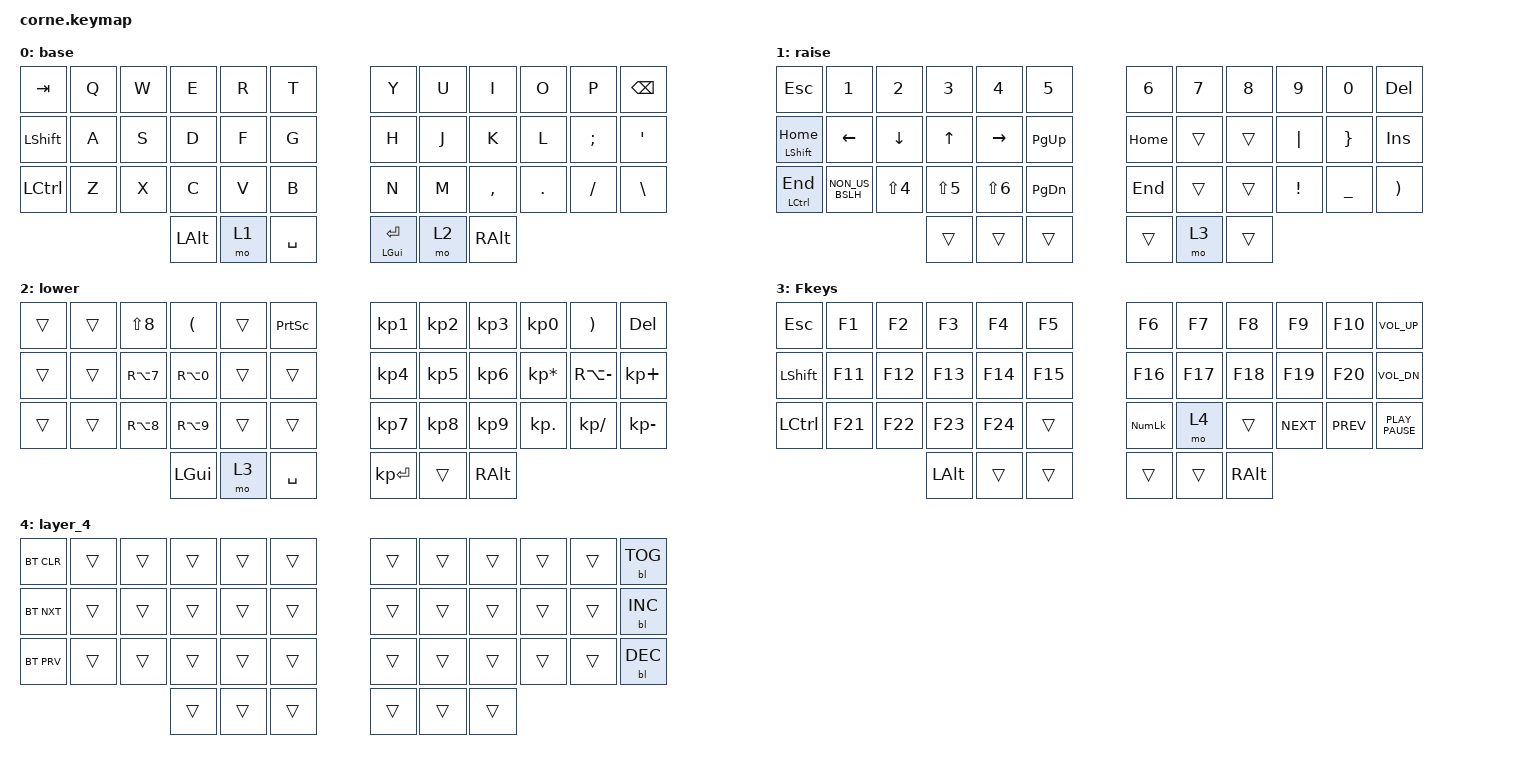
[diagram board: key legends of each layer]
/*
 * Copyright (c) 2020 The ZMK Contributors
 *
 * SPDX-License-Identifier: MIT
 */

#include <behaviors.dtsi>
#include <dt-bindings/zmk/backlight.h>
#include <dt-bindings/zmk/bt.h>
#include <dt-bindings/zmk/keys.h>

/ {
    behaviors {
        hm: homerow_mods {
            compatible = "zmk,behavior-hold-tap";
            label = "HOMEROW_MODS";
            #binding-cells = <2>;
            tapping-term-ms = <150>;
            quick-tap-ms = <0>;
            flavor = "tap-preferred";
            bindings = <&kp>, <&kp>;
        };
    };

    combos {
        compatible = "zmk,combos";

        cmd {
            bindings = <&kp LCMD>;
            key-positions = <37 38>;
        };

        Layer3 {
            bindings = <&mo 3>;
            key-positions = <37 40>;
        };

        leftside_kp_minus {
            bindings = <&kp KP_MINUS>;
            key-positions = <38 29>;
        };

        leftside_kp_plus {
            bindings = <&kp KP_PLUS>;
            key-positions = <17 38>;
        };

        leftside_end {
            bindings = <&kp END>;
            key-positions = <38 24>;
        };

        leftside_L {
            bindings = <&kp L>;
            key-positions = <38 5>;
        };
    };

    keymap {
        compatible = "zmk,keymap";

        base {
            bindings = <
&kp TAB         &kp Q  &kp W  &kp E         &kp R  &kp T        &kp Y               &kp U  &kp I      &kp O    &kp P          &kp BACKSPACE
&kp LEFT_SHIFT  &kp A  &kp S  &kp D         &kp F  &kp G        &kp H               &kp J  &kp K      &kp L    &kp SEMICOLON  &kp SINGLE_QUOTE
&kp LCTRL       &kp Z  &kp X  &kp C         &kp V  &kp B        &kp N               &kp M  &kp COMMA  &kp DOT  &kp FSLH       &kp BACKSLASH
                              &kp LEFT_ALT  &mo 1  &kp SPACE    &hm LEFT_GUI ENTER  &mo 2  &kp RALT
            >;
        };

        raise {
            bindings = <
&kp ESC               &kp N1           &kp N2            &kp N3        &kp N4            &kp N5           &kp N6    &kp N7  &kp N8  &kp N9           &kp N0           &kp DEL
&hm LEFT_SHIFT HOME   &kp LEFT_ARROW   &kp DOWN_ARROW    &kp UP_ARROW  &kp RIGHT_ARROW   &kp PAGE_UP      &kp HOME  &trans  &trans  &kp PIPE         &kp RIGHT_BRACE  &kp INSERT
&hm LEFT_CONTROL END  &kp NON_US_BSLH  &kp LS(NUMBER_4)  &kp LS(N5)    &kp LS(NUMBER_6)  &kp PAGE_DOWN    &kp END   &trans  &trans  &kp EXCLAMATION  &kp UNDERSCORE   &kp RIGHT_PARENTHESIS
                                                         &trans        &trans            &trans           &trans    &mo 3   &trans
            >;
        };

        lower {
            bindings = <
&trans  &trans  &kp LS(NUMBER_8)  &kp LEFT_PARENTHESIS  &trans  &kp PRINTSCREEN    &kp KP_NUMBER_1  &kp KP_NUMBER_2  &kp KP_NUMBER_3  &kp KP_NUMBER_0  &kp RIGHT_PARENTHESIS  &kp DELETE
&trans  &trans  &kp RA(NUMBER_7)  &kp RA(NUMBER_0)      &trans  &trans             &kp KP_NUMBER_4  &kp KP_NUMBER_5  &kp KP_NUMBER_6  &kp KP_MULTIPLY  &kp RA(MINUS)          &kp KP_PLUS
&trans  &trans  &kp RA(NUMBER_8)  &kp RA(NUMBER_9)      &trans  &trans             &kp KP_NUMBER_7  &kp KP_NUMBER_8  &kp KP_NUMBER_9  &kp KP_DOT       &kp KP_SLASH           &kp KP_MINUS
                                  &kp LEFT_GUI          &mo 3   &kp SPACE          &kp KP_ENTER     &trans           &kp RIGHT_ALT
            >;
        };

        Fkeys {
            bindings = <
&kp ESCAPE      &kp F1   &kp F2   &kp F3        &kp F4   &kp F5     &kp F6          &kp F7   &kp F8         &kp F9      &kp F10     &kp C_VOL_UP
&kp LEFT_SHIFT  &kp F11  &kp F12  &kp F13       &kp F14  &kp F15    &kp F16         &kp F17  &kp F18        &kp F19     &kp F20     &kp C_VOL_DN
&kp LCTRL       &kp F21  &kp F22  &kp F23       &kp F24  &trans     &kp KP_NUMLOCK  &mo 4    &trans         &kp C_NEXT  &kp C_PREV  &kp K_PLAY_PAUSE
                                  &kp LEFT_ALT  &trans   &trans     &trans          &trans   &kp RIGHT_ALT
            >;
        };

        layer_4 {
            bindings = <
&bt BT_CLR  &trans  &trans  &trans  &trans  &trans    &trans  &trans  &trans  &trans  &trans  &bl BL_TOG
&bt BT_NXT  &trans  &trans  &trans  &trans  &trans    &trans  &trans  &trans  &trans  &trans  &bl BL_INC
&bt BT_PRV  &trans  &trans  &trans  &trans  &trans    &trans  &trans  &trans  &trans  &trans  &bl BL_DEC
                            &trans  &trans  &trans    &trans  &trans  &trans
            >;
        };
    };
};
